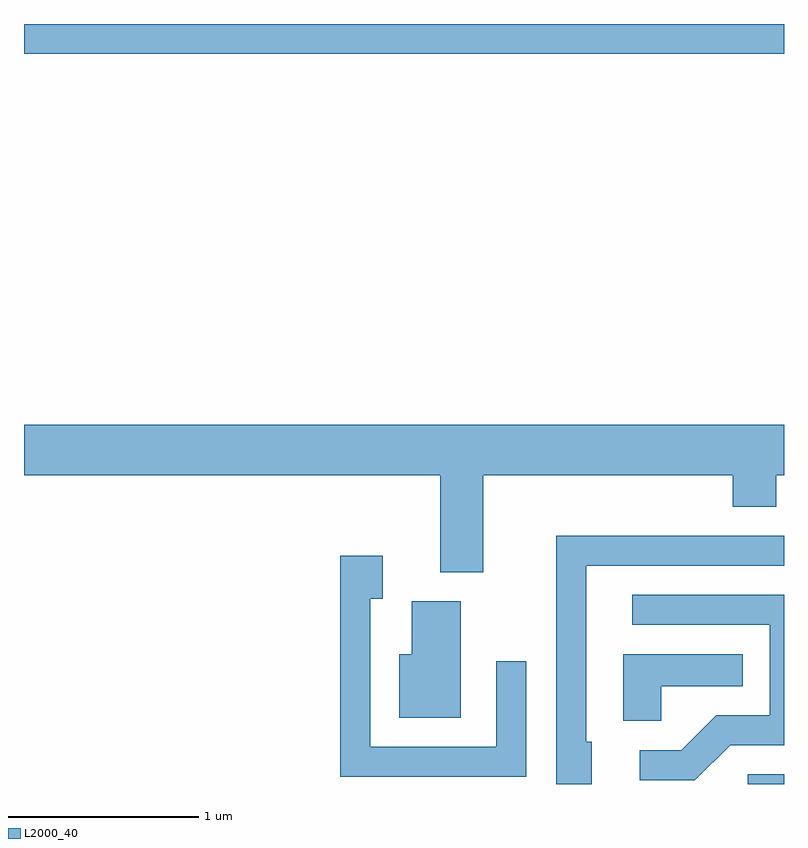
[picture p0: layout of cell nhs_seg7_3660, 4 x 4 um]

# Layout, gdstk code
import gdstk
lib = gdstk.Library(unit=1e-6, precision=1e-09)
def R(c, l, rs):  # rectangles x0, y0, x1, y1
    for r in rs: c.add(gdstk.rectangle(r[:2], r[2:], *l))
def P(c, l, *ps):  # polygons
    for p in ps: c.add(gdstk.Polygon(p, *l))
L2000_40 = (2000, 40)

nhs_seg7_3660 = lib.new_cell('nhs_seg7_3660')
R(nhs_seg7_3660, L2000_40, [(301.421,1708.252,301.611,1708.304), (297.611,1712.096,301.611,1712.252)])
P(nhs_seg7_3660, L2000_40, [(300.029,1709.876),(301.341,1709.876),(301.341,1709.711),(301.569,1709.711),(301.569,1709.876),(301.611,1709.876),(301.611,1710.144),(297.611,1710.144),(297.611,1709.876),(299.801,1709.876),(299.801,1709.366),(300.029,1709.366)],
  [(300.599,1708.474),(300.569,1708.474),(300.569,1709.401),(301.611,1709.401),(301.611,1709.559),(300.411,1709.559),(300.411,1708.252),(300.599,1708.252)],
  [(300.254,1708.898),(300.096,1708.898),(300.096,1708.449),(299.434,1708.449),(299.434,1709.226),(299.499,1709.226),(299.499,1709.454),(299.276,1709.454),(299.276,1708.291),(300.254,1708.291)],
  [(301.327,1708.456),(301.611,1708.456),(301.611,1709.249),(300.813,1709.249),(300.813,1709.091),(301.536,1709.091),(301.536,1708.614),(301.254,1708.614),(301.069,1708.429),(300.853,1708.429),(300.853,1708.271),(301.142,1708.271)],
  [(299.909,1709.214),(299.651,1709.214),(299.651,1708.934),(299.586,1708.934),(299.586,1708.601),(299.909,1708.601)],
  [(300.964,1708.766),(301.393,1708.766),(301.393,1708.934),(300.766,1708.934),(300.766,1708.586),(300.964,1708.586)])

lib.write_gds('nhs_seg7_3660.gds')
